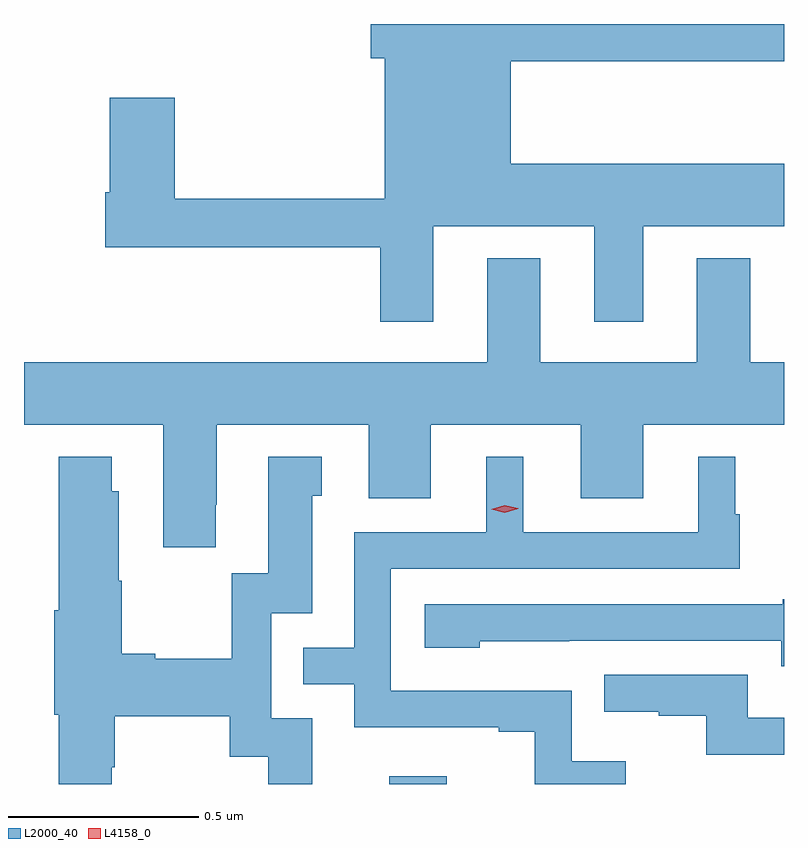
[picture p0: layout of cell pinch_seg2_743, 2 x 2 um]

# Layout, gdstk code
import gdstk
lib = gdstk.Library(unit=1e-6, precision=1e-09)
def R(c, l, rs):  # rectangles x0, y0, x1, y1
    for r in rs: c.add(gdstk.rectangle(r[:2], r[2:], *l))
def P(c, l, *ps):  # polygons
    for p in ps: c.add(gdstk.Polygon(p, *l))
L2000_40 = (2000, 40)
L4158_0 = (4158, 0)

pinch_seg2_743 = lib.new_cell('pinch_seg2_743')
R(pinch_seg2_743, L2000_40, [(779.243,646.69,779.395,646.711)])
P(pinch_seg2_743, L2000_40, [(779.359,648.158),(779.783,648.158),(779.783,647.907),(779.911,647.907),(779.911,648.158),(780.282,648.158),(780.282,648.322),(779.563,648.322),(779.563,648.592),(780.282,648.592),(780.282,648.69),(779.195,648.69),(779.195,648.6),(779.231,648.6),(779.231,648.23),(778.679,648.23),(778.679,648.496),(778.508,648.496),(778.508,648.247),(778.496,648.247),(778.496,648.102),(779.219,648.102),(779.219,647.907),(779.359,647.907)],
  [(778.786,647.425),(778.789,647.425),(778.789,647.636),(779.189,647.636),(779.189,647.442),(779.353,647.442),(779.353,647.636),(779.747,647.636),(779.747,647.442),(779.911,647.442),(779.911,647.636),(780.282,647.636),(780.282,647.8),(780.193,647.8),(780.193,648.073),(780.053,648.073),(780.053,647.8),(779.641,647.8),(779.641,648.073),(779.501,648.073),(779.501,647.8),(778.282,647.8),(778.282,647.636),(778.649,647.636),(778.649,647.313),(778.786,647.313)],
  [(778.513,646.734),(778.521,646.734),(778.521,646.868),(778.824,646.868),(778.824,646.762),(778.925,646.762),(778.925,646.69),(779.041,646.69),(779.041,646.863),(778.932,646.863),(778.932,647.139),(779.041,647.139),(779.041,647.448),(779.065,647.448),(779.065,647.551),(778.925,647.551),(778.925,647.244),(778.829,647.244),(778.829,647.02),(778.627,647.02),(778.627,647.033),(778.539,647.033),(778.539,647.225),(778.531,647.225),(778.531,647.46),(778.513,647.46),(778.513,647.551),(778.373,647.551),(778.373,647.147),(778.361,647.147),(778.361,646.872),(778.373,646.872),(778.373,646.69),(778.513,646.69)],
  [(779.866,646.75),(779.724,646.75),(779.724,646.935),(779.247,646.935),(779.247,647.256),(780.166,647.256),(780.166,647.4),(780.154,647.4),(780.154,647.551),(780.056,647.551),(780.056,647.352),(779.596,647.352),(779.596,647.551),(779.498,647.551),(779.498,647.352),(779.151,647.352),(779.151,647.049),(779.017,647.049),(779.017,646.953),(779.151,646.953),(779.151,646.839),(779.531,646.839),(779.531,646.827),(779.626,646.827),(779.626,646.69),(779.866,646.69)],
  [(780.282,647.176),(780.279,647.176),(780.279,647.163),(779.337,647.163),(779.337,647.048),(779.481,647.048),(779.481,647.066),(779.717,647.066),(779.717,647.067),(780.275,647.067),(780.275,647),(780.282,647)],
  [(780.282,646.865),(780.187,646.865),(780.187,646.977),(779.809,646.977),(779.809,646.88),(779.953,646.88),(779.953,646.869),(780.077,646.869),(780.077,646.767),(780.282,646.767)])
P(pinch_seg2_743, L4158_0, [(779.547,647.404),(779.511,647.413),(779.511,647.413),(779.511,647.413),(779.547,647.424),(779.583,647.416),(779.583,647.415),(779.583,647.415)])

lib.write_gds('pinch_seg2_743.gds')
